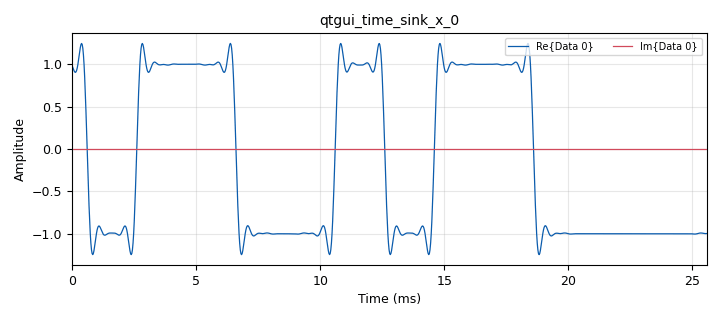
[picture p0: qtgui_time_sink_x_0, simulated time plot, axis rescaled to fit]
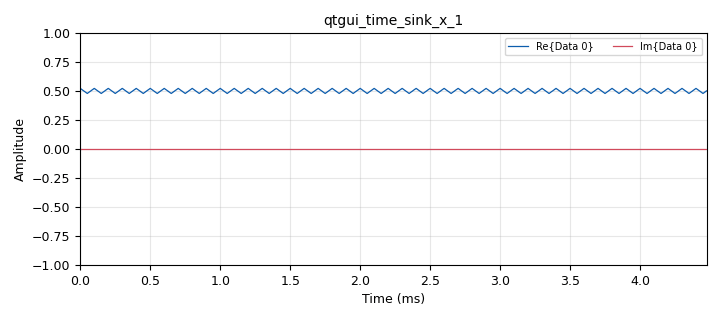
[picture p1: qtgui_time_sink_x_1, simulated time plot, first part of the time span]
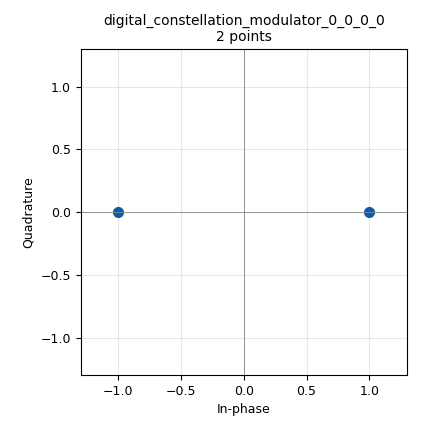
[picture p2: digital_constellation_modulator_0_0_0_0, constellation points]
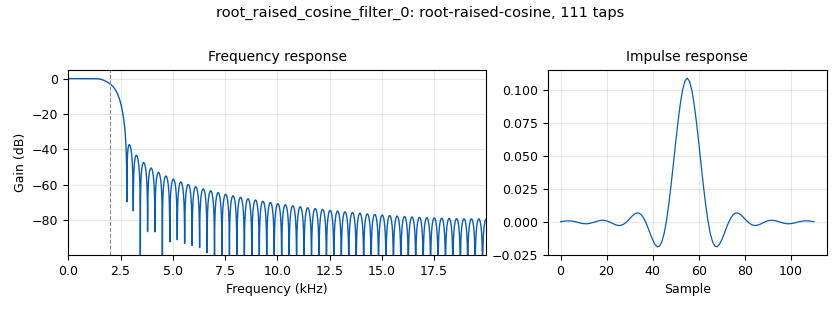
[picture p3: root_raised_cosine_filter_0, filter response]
options:
  parameters:
    author: venkat
    generate_options: qt_gui
    generator_class_name: PythonQtGuiGenerator
    generator_module: gnuradio.grc.workflows.python_qt_gui
    id: corr_IQ
    output_language: python
    title: Not titled yet
  states: {}

blocks:
- name: access_code_bits
  id: variable
  parameters:
    value: '[int(bit) for byte in access_code_hex for bit in f"{byte:08b}"]'
  states: {}
- name: access_code_hex
  id: variable
  parameters:
    value: '[0xE1, 0x5A, 0xE8, 0x93]'
  states: {}
- name: bpsk
  id: variable_constellation
  parameters:
    precision: '8'
    type: bpsk
  states: {}
- name: excess_bw
  id: variable
  parameters:
    value: '0.35'
  states: {}
- name: samp_rate
  id: variable
  parameters:
    value: 40*1e3
  states: {}
- name: sps
  id: variable
  parameters:
    value: '10'
  states: {}
- name: blocks_throttle2_0
  id: blocks_throttle2
  parameters:
    samples_per_second: samp_rate
    type: complex
  states: {}
- name: blocks_vector_source_x_0
  id: blocks_vector_source_x
  parameters:
    repeat: 'False'
    type: byte
    vector: access_code_bits
  states: {}
- name: blocks_vector_source_x_1
  id: blocks_vector_source_x
  parameters:
    repeat: 'True'
    type: complex
    vector: '[1,0,1,0]'
  states: {}
- name: digital_constellation_modulator_0_0_0_0
  id: digital_constellation_modulator
  parameters:
    constellation: bpsk
    differential: 'True'
    excess_bw: excess_bw
    samples_per_symbol: sps
  states: {}
- name: epy_block_0
  id: epy_block
  parameters:
    _source_code: |
      import numpy as np
      from gnuradio import gr


      class blk(gr.sync_block):  # other base classes are basic_block, decim_block, interp_block
          """Embedded Python Block example - a simple multiply const"""

          def __init__(self, capture_length=30):  # only default arguments here
              """arguments to this function show up as parameters in GRC"""
              gr.sync_block.__init__(
                  self,
                  name='Embedded Python Block',   # will show up in GRC
                  in_sig=[np.complex64],
                  out_sig=[np.complex64]
              )
              self.capture_length = capture_length
              self.access_iq = np.array([], dtype=np.complex64)
              self.has_captured = False
              # if an attribute with the same name as a parameter is found,
              # a callback is registered (properties work, too).

          def work(self, input_items, output_items):
              in0 = input_items[0]
              out0 = output_items[0]

              if not self.has_captured:

                  self.access_iq = np.append(self.access_iq, in0)

                  if len(self.access_iq) > self.capture_length:
                      self.access_iq = self.access_iq[:self.capture_length]
                      self.has_captured = True
                      print(f"Captured Access IQ! Length: {len(self.access_iq)}")
                      print(f"Captured Access IQ! Length: {self.access_iq}")
              
              out0[:] = in0

              return len(out0)
    capture_length: '320'
  states: {}
- name: qtgui_time_sink_x_0
  id: qtgui_time_sink_x
  parameters:
    size: '1024'
    srate: samp_rate
    type: complex
  states: {}
- name: qtgui_time_sink_x_1
  id: qtgui_time_sink_x
  parameters:
    size: '1024'
    srate: samp_rate
    type: complex
  states: {}
- name: rational_resampler_xxx_0
  id: rational_resampler_xxx
  parameters:
    decim: '1'
    interp: '2'
    type: ccc
  states: {}
- name: root_raised_cosine_filter_0
  id: root_raised_cosine_filter
  parameters:
    alpha: '0.35'
    decim: '1'
    gain: '1'
    ntaps: 11*sps
    samp_rate: samp_rate
    sym_rate: (samp_rate//sps)
    type: fir_filter_ccf
  states: {}

connections:
- [blocks_throttle2_0, '0', rational_resampler_xxx_0, '0']
- [blocks_vector_source_x_0, '0', digital_constellation_modulator_0_0_0_0, '0']
- [blocks_vector_source_x_1, '0', blocks_throttle2_0, '0']
- [digital_constellation_modulator_0_0_0_0, '0', root_raised_cosine_filter_0, '0']
- [epy_block_0, '0', qtgui_time_sink_x_0, '0']
- [rational_resampler_xxx_0, '0', qtgui_time_sink_x_1, '0']
- [root_raised_cosine_filter_0, '0', epy_block_0, '0']

metadata:
  file_format: 1
  grc_version: 3.10.12.0
